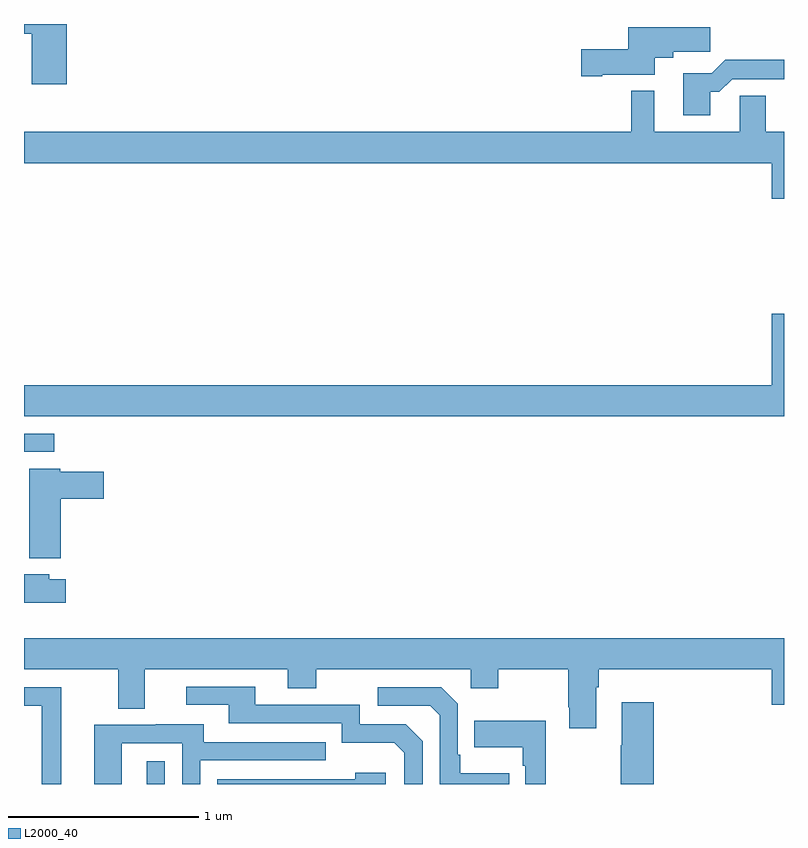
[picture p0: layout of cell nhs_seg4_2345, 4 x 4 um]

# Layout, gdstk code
import gdstk
lib = gdstk.Library(unit=1e-6, precision=1e-09)
def R(c, l, rs):  # rectangles x0, y0, x1, y1
    for r in rs: c.add(gdstk.rectangle(r[:2], r[2:], *l))
def P(c, l, *ps):  # polygons
    for p in ps: c.add(gdstk.Polygon(p, *l))
L2000_40 = (2000, 40)

nhs_seg4_2345 = lib.new_cell('nhs_seg4_2345')
R(nhs_seg4_2345, L2000_40, [(233.645,778.9,233.742,779.02), (233,780.648,233.158,780.744)])
P(nhs_seg4_2345, L2000_40, [(233.225,782.9),(233,782.9),(233,782.848),(233.042,782.848),(233.042,782.583),(233.225,782.583)],
  [(236.044,782.633),(236.32,782.633),(236.32,782.723),(236.416,782.723),(236.416,782.755),(236.611,782.755),(236.611,782.884),(236.18,782.884),(236.18,782.768),(235.932,782.768),(235.932,782.626),(236.044,782.626)],
  [(236.611,782.543),(236.66,782.543),(236.727,782.61),(237,782.61),(237,782.711),(236.69,782.711),(236.62,782.641),(236.471,782.641),(236.471,782.421),(236.611,782.421)],
  [(237,782.332),(236.905,782.332),(236.905,782.522),(236.766,782.522),(236.766,782.332),(236.317,782.332),(236.317,782.548),(236.196,782.548),(236.196,782.332),(233,782.332),(233,782.168),(236.936,782.168),(236.936,781.98),(237,781.98)],
  [(237,781.375),(236.936,781.375),(236.936,781),(233,781),(233,780.836),(237,780.836)],
  [(233.194,780.401),(233.419,780.401),(233.419,780.543),(233.19,780.543),(233.19,780.559),(233.027,780.559),(233.027,780.089),(233.194,780.089)],
  [(233.221,779.977),(233.133,779.977),(233.133,780.004),(233,780.004),(233,779.855),(233.221,779.855)],
  [(236.011,779.408),(236.024,779.408),(236.024,779.504),(236.936,779.504),(236.936,779.316),(237,779.316),(237,779.668),(233,779.668),(233,779.504),(233.495,779.504),(233.495,779.296),(233.635,779.296),(233.635,779.504),(234.389,779.504),(234.389,779.405),(234.537,779.405),(234.537,779.504),(235.35,779.504),(235.35,779.405),(235.497,779.405),(235.497,779.504),(235.864,779.504),(235.864,779.305),(235.871,779.305),(235.871,779.193),(236.011,779.193)],
  [(235.098,779.124),(235.008,779.214),(234.768,779.214),(234.768,779.316),(234.217,779.316),(234.217,779.412),(233.853,779.412),(233.853,779.316),(234.077,779.316),(234.077,779.22),(234.672,779.22),(234.672,779.117),(234.949,779.117),(235.002,779.064),(235.002,778.9),(235.098,778.9)],
  [(235.553,778.957),(235.297,778.957),(235.297,779.053),(235.284,779.053),(235.284,779.322),(235.197,779.409),(234.861,779.409),(234.861,779.313),(235.137,779.313),(235.188,779.262),(235.188,778.9),(235.553,778.9)],
  [(233.197,779.409),(233,779.409),(233,779.313),(233.093,779.313),(233.093,778.9),(233.197,778.9)],
  [(236.315,779.329),(236.147,779.329),(236.147,779.105),(236.14,779.105),(236.14,778.9),(236.315,778.9)],
  [(235.747,779.233),(235.369,779.233),(235.369,779.093),(235.626,779.093),(235.626,778.997),(235.638,778.997),(235.638,778.9),(235.747,778.9)],
  [(233.514,779.115),(233.832,779.115),(233.832,778.9),(233.928,778.9),(233.928,779.025),(234.587,779.025),(234.587,779.121),(233.947,779.121),(233.947,779.215),(233.693,779.215),(233.693,779.211),(233.369,779.211),(233.369,778.9),(233.514,778.9)],
  [(234.904,778.96),(234.743,778.96),(234.743,778.926),(234.018,778.926),(234.018,778.9),(234.904,778.9)])

lib.write_gds('nhs_seg4_2345.gds')
